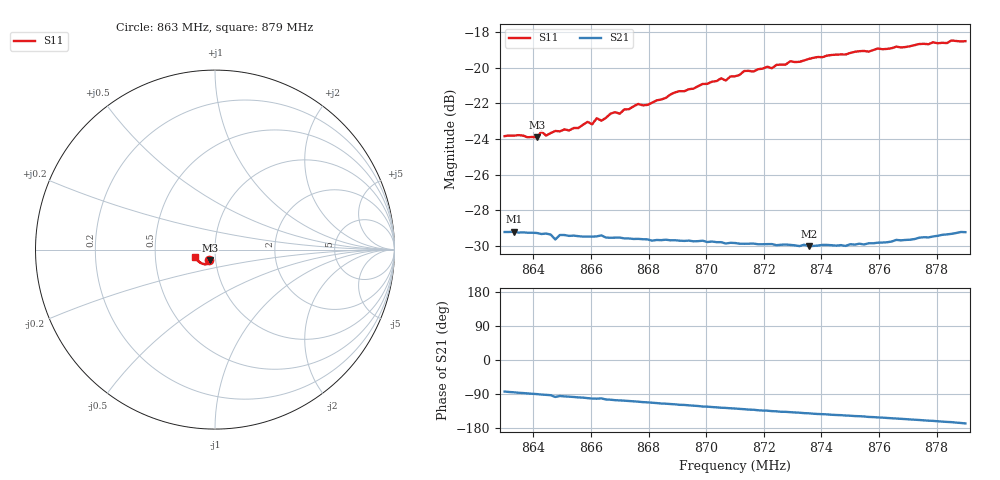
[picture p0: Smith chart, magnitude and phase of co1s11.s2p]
# HZ S RI R 50
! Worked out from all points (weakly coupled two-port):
!   101 points, 863 MHz to 879 MHz, reference 50 ohm
!   highest |S21| = -29.20 dB at 863.32 MHz (marker M1); lowest = -30.0 dB at 873.56 MHz (marker M2)
!   lowest |S11| = -23.9 dB at 864.12 MHz (marker M3), VSWR 1.14, Z = 47 - j5.42 ohm
!   |S11| at or under -10 dB: start of sweep to end of sweep
!   S12 and S22 are empty: the file has one direction only
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8.63e8  -0.0324 -0.0555  0.00405 -0.0344  0 0  0 0
8.6332e8  -0.0309 -0.0565  0.00291 -0.0346  0 0  0 0
8.6412e8  -0.0276 -0.0574  1.6e-05 -0.0344  0 0  0 0
8.6428e8  -0.0286 -0.0597  -0.000735 -0.0342  0 0  0 0
8.6444e8  -0.0274 -0.0583  -0.00119 -0.0343  0 0  0 0
8.6476e8  -0.0283 -0.0601  -0.0043 -0.0327  0 0  0 0
8.6492e8  -0.0273 -0.0604  -0.00298 -0.0338  0 0  0 0
8.6572e8  -0.0261 -0.064  -0.00539 -0.0332  0 0  0 0
8.6604e8  -0.0264 -0.0641  -0.00683 -0.0329  0 0  0 0
8.662e8  -0.028 -0.0664  -0.00706 -0.0329  0 0  0 0
8.6636e8  -0.0251 -0.0664  -0.00663 -0.0332  0 0  0 0
8.6668e8  -0.0287 -0.0685  -0.0085 -0.0323  0 0  0 0
8.67e8  -0.0284 -0.0686  -0.00957 -0.032  0 0  0 0
8.6764e8  -0.0311 -0.0727  -0.0113 -0.0311  0 0  0 0
8.6796e8  -0.0313 -0.072  -0.0122 -0.0307  0 0  0 0
8.6844e8  -0.0332 -0.0743  -0.0138 -0.0298  0 0  0 0
8.71e8  -0.0494 -0.0806  -0.0199 -0.0254  0 0  0 0
8.7132e8  -0.0533 -0.082  -0.0205 -0.0246  0 0  0 0
8.7356e8  -0.0717 -0.0776  -0.0244 -0.02  0 0  0 0
8.7372e8  -0.0722 -0.0782  -0.0248 -0.0196  0 0  0 0
8.7644e8  -0.0938 -0.0635  -0.0292 -0.0144  0 0  0 0
8.79e8  -0.111 -0.0414  -0.0337 -0.00757  0 0  0 0
